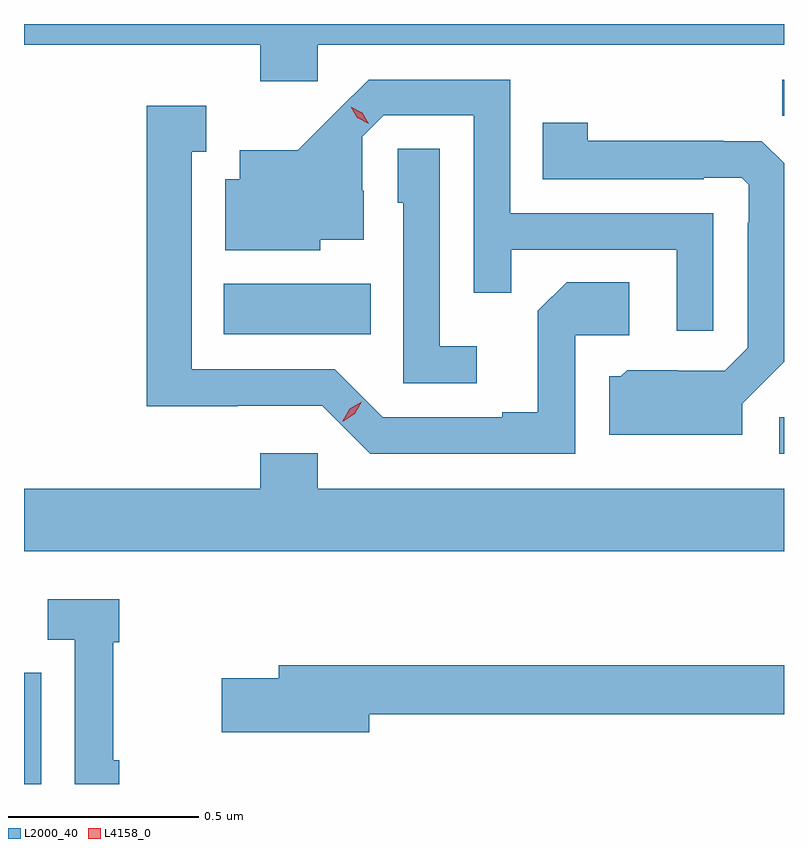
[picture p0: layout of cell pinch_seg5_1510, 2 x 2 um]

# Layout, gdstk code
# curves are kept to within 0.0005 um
import gdstk
lib = gdstk.Library(unit=1e-6, precision=1e-09)
def R(c, l, rs):  # rectangles x0, y0, x1, y1
    for r in rs: c.add(gdstk.rectangle(r[:2], r[2:], *l))
def P(c, l, *ps):  # polygons
    for p in ps: c.add(gdstk.Polygon(p, *l))
L2000_40 = (2000, 40)
L4158_0 = (4158, 0)

pinch_seg5_1510 = lib.new_cell('pinch_seg5_1510')
R(pinch_seg5_1510, L2000_40, [(114.199,890.779,114.244,891.072), (116.187,891.648,116.199,891.744), (114.725,891.962,115.112,892.096), (116.194,892.537,116.199,892.632)])
P(pinch_seg5_1510, L2000_40, [(114.972,892.724),(116.199,892.724),(116.199,892.779),(114.199,892.779),(114.199,892.724),(114.821,892.724),(114.821,892.629),(114.972,892.629)],
  [(116.013,892.281),(115.479,892.281),(115.479,892.632),(115.106,892.632),(114.919,892.447),(114.767,892.447),(114.767,892.371),(114.728,892.371),(114.728,892.184),(114.978,892.184),(114.978,892.211),(115.093,892.211),(115.093,892.34),(115.089,892.34),(115.089,892.482),(115.146,892.539),(115.383,892.539),(115.383,892.072),(115.481,892.072),(115.481,892.185),(115.917,892.185),(115.917,891.972),(116.013,891.972)],
  [(115.65,891.96),(115.792,891.96),(115.792,892.1),(115.627,892.1),(115.551,892.024),(115.551,891.757),(115.457,891.757),(115.457,891.744),(115.143,891.744),(115.017,891.87),(114.64,891.87),(114.64,892.443),(114.679,892.443),(114.679,892.564),(114.522,892.564),(114.522,891.773),(114.762,891.773),(114.762,891.774),(114.984,891.774),(115.11,891.648),(115.65,891.648)],
  [(116.089,891.78),(116.199,891.89),(116.199,892.412),(116.14,892.471),(116.039,892.471),(116.039,892.472),(115.683,892.472),(115.683,892.519),(115.564,892.519),(115.564,892.371),(115.988,892.371),(115.988,892.374),(116.088,892.374),(116.106,892.356),(116.106,892.256),(116.103,892.256),(116.103,891.927),(116.043,891.867),(115.92,891.867),(115.92,891.868),(115.786,891.868),(115.77,891.852),(115.739,891.852),(115.739,891.698),(116.089,891.698)],
  [(115.39,891.931),(115.293,891.931),(115.293,892.451),(115.182,892.451),(115.182,892.308),(115.197,892.308),(115.197,891.834),(115.39,891.834)],
  [(116.199,891.556),(114.972,891.556),(114.972,891.649),(114.821,891.649),(114.821,891.556),(114.199,891.556),(114.199,891.392),(116.199,891.392)],
  [(114.449,890.841),(114.434,890.841),(114.434,891.152),(114.449,891.152),(114.449,891.265),(114.261,891.265),(114.261,891.159),(114.333,891.159),(114.333,890.779),(114.449,890.779)],
  [(115.108,890.962),(116.199,890.962),(116.199,891.091),(114.869,891.091),(114.869,891.057),(114.72,891.057),(114.72,890.915),(115.108,890.915)])
P(pinch_seg5_1510, L4158_0, [(115.106,892.516),(115.076,892.532),(115.059,892.561),(115.059,892.561),(115.059,892.561),(115.089,892.546),(115.106,892.517),(115.106,892.516)],
  [(115.038,891.734),(115.038,891.735),(115.056,891.767),(115.088,891.785),(115.088,891.785),(115.088,891.785),(115.07,891.753),(115.039,891.734)])

lib.write_gds('pinch_seg5_1510.gds')
